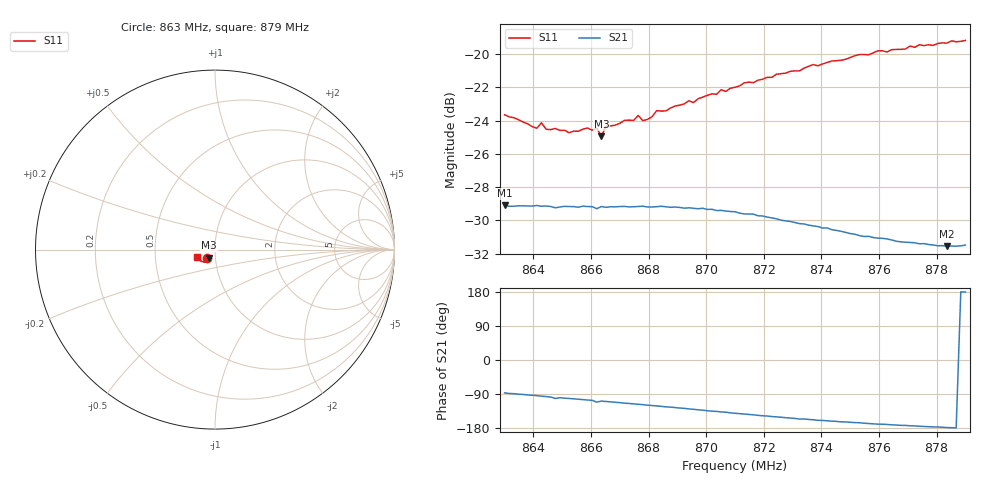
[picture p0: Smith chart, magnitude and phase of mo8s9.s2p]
# HZ S RI R 50
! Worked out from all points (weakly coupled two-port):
!   101 points, 863 MHz to 879 MHz, reference 50 ohm
!   highest |S21| = -29.10 dB at 863 MHz (marker M1); lowest = -31.6 dB at 878.36 MHz (marker M2)
!   lowest |S11| = -24.9 dB at 866.36 MHz (marker M3), VSWR 1.12, Z = 46.6 - j4.26 ohm
!   |S11| at or under -10 dB: start of sweep to end of sweep
!   S12 and S22 are empty: the file has one direction only
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8.63e8  -0.0472 -0.0458  0.00199 -0.035  0 0  0 0
8.6412e8  -0.0398 -0.0447  -0.00244 -0.035  0 0  0 0
8.6428e8  -0.0409 -0.0469  -0.00328 -0.0347  0 0  0 0
8.6444e8  -0.0391 -0.0448  -0.004 -0.0347  0 0  0 0
8.6524e8  -0.036 -0.0455  -0.00697 -0.0341  0 0  0 0
8.6572e8  -0.0341 -0.0488  -0.00874 -0.0338  0 0  0 0
8.662e8  -0.0329 -0.0501  -0.0124 -0.032  0 0  0 0
8.6636e8  -0.0336 -0.0456  -0.0109 -0.033  0 0  0 0
8.6652e8  -0.0318 -0.0516  -0.0116 -0.0326  0 0  0 0
8.6748e8  -0.0318 -0.0547  -0.0151 -0.0313  0 0  0 0
8.6764e8  -0.0333 -0.0563  -0.0157 -0.0311  0 0  0 0
8.678e8  -0.0326 -0.054  -0.0163 -0.0308  0 0  0 0
8.6796e8  -0.0328 -0.0546  -0.0169 -0.0303  0 0  0 0
8.6828e8  -0.0338 -0.0586  -0.018 -0.0297  0 0  0 0
8.6844e8  -0.0335 -0.0586  -0.0187 -0.0294  0 0  0 0
8.71e8  -0.0431 -0.0669  -0.0259 -0.0213  0 0  0 0
8.7244e8  -0.0534 -0.0688  -0.0277 -0.016  0 0  0 0
8.7324e8  -0.0576 -0.068  -0.0282 -0.0127  0 0  0 0
8.7372e8  -0.0614 -0.07  -0.0281 -0.0115  0 0  0 0
8.7644e8  -0.0845 -0.0594  -0.0273 -0.00428  0 0  0 0
8.7836e8  -0.0985 -0.0444  -0.0264 -0.000787  0 0  0 0
8.79e8  -0.1028 -0.0394  -0.0266 0.000318  0 0  0 0
